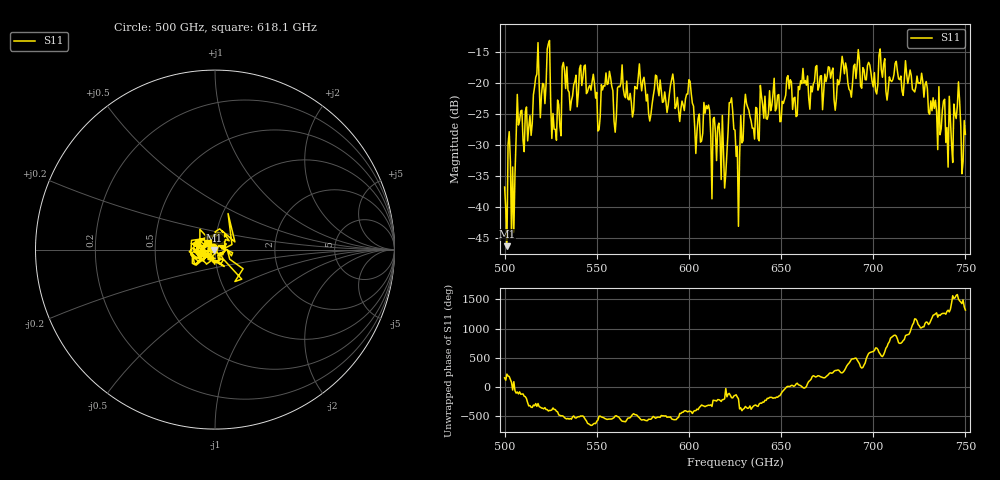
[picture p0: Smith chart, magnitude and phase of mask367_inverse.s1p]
!Created with skrf (http://scikit-rf.org).
# GHz S MA R 50.0
!freq magS11 angS11
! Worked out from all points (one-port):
!   401 points, 500 GHz to 750 GHz, reference 50 ohm
!   lowest |S11| = -46.4 dB at 501.2 GHz (marker M1), VSWR 1.01, Z = 49.6 - j0.284 ohm
!   |S11| at or under -10 dB: start of sweep to end of sweep
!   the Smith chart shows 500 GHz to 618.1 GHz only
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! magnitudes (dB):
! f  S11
! 500 GHz  -36.8
! 501.2 GHz  -46.4
! 504.4 GHz  -33.6
! 507.5 GHz  -26.8
! 513.8 GHz  -25.2
! 517.5 GHz  -18.5
! 520.6 GHz  -20.0
! 523.8 GHz  -13.6
! 526.9 GHz  -27.4
! 531.2 GHz  -17.3
! 542.5 GHz  -19.0
! 550.6 GHz  -27.7
! 562.5 GHz  -20.6
! 593.8 GHz  -22.3
! 600 GHz  -19.4
! 605 GHz  -25.7
! 609.4 GHz  -23.6
! 618.8 GHz  -31.1
! 622.5 GHz  -23.1
! 625 GHz  -27.6
! 626.2 GHz  -30.2
! 631.2 GHz  -23.3
! 636.9 GHz  -24.1
! 656.2 GHz  -24.2
! 683.8 GHz  -16.8
! 687.5 GHz  -21.2
! 718.8 GHz  -20.0
! 750 GHz  -28.3
